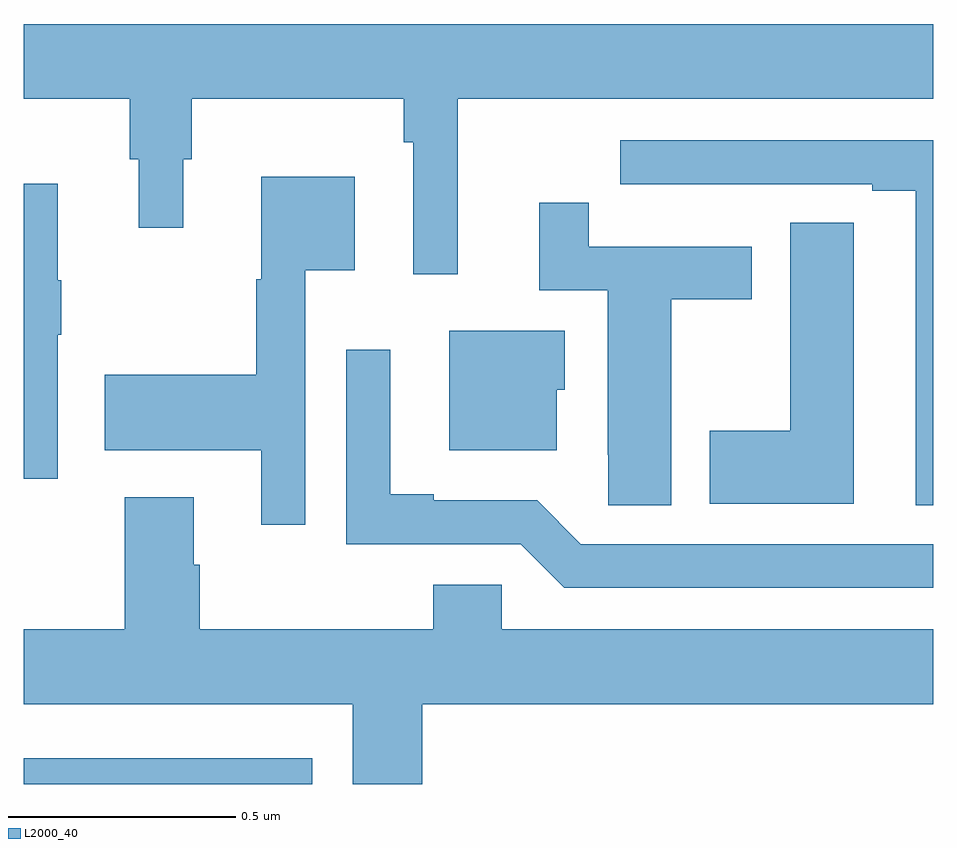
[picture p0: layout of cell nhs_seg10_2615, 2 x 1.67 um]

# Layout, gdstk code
import gdstk
lib = gdstk.Library(unit=1e-6, precision=1e-09)
def R(c, l, rs):  # rectangles x0, y0, x1, y1
    for r in rs: c.add(gdstk.rectangle(r[:2], r[2:], *l))
def P(c, l, *ps):  # polygons
    for p in ps: c.add(gdstk.Polygon(p, *l))
L2000_40 = (2000, 40)

nhs_seg10_2615 = lib.new_cell('nhs_seg10_2615')
R(nhs_seg10_2615, L2000_40, [(143,1273.5,143.634,1273.557)])
P(nhs_seg10_2615, L2000_40, [(143.954,1275.008),(145,1275.008),(145,1275.172),(143,1275.172),(143,1275.008),(143.233,1275.008),(143.233,1274.874),(143.252,1274.874),(143.252,1274.724),(143.35,1274.724),(143.35,1274.874),(143.369,1274.874),(143.369,1275.008),(143.836,1275.008),(143.836,1274.912),(143.856,1274.912),(143.856,1274.622),(143.954,1274.622)],
  [(145,1274.916),(144.312,1274.916),(144.312,1274.82),(144.424,1274.82),(144.424,1274.819),(144.59,1274.819),(144.59,1274.82),(144.866,1274.82),(144.866,1274.805),(144.962,1274.805),(144.962,1274.113),(145,1274.113)],
  [(143.619,1274.63),(143.728,1274.63),(143.728,1274.836),(143.522,1274.836),(143.522,1274.61),(143.511,1274.61),(143.511,1274.4),(143.178,1274.4),(143.178,1274.234),(143.522,1274.234),(143.522,1274.07),(143.619,1274.07)],
  [(143.074,1274.488),(143.082,1274.488),(143.082,1274.608),(143.074,1274.608),(143.074,1274.821),(143,1274.821),(143,1274.172),(143.074,1274.172)],
  [(144.424,1274.566),(144.601,1274.566),(144.601,1274.682),(144.242,1274.682),(144.242,1274.779),(144.134,1274.779),(144.134,1274.586),(144.284,1274.586),(144.284,1274.224),(144.285,1274.224),(144.285,1274.113),(144.424,1274.113)],
  [(144.826,1274.627),(144.825,1274.627),(144.825,1274.735),(144.686,1274.735),(144.686,1274.277),(144.509,1274.277),(144.509,1274.117),(144.826,1274.117)],
  [(144.172,1274.367),(144.19,1274.367),(144.19,1274.497),(143.936,1274.497),(143.936,1274.234),(144.172,1274.234)],
  [(145,1274.028),(144.225,1274.028),(144.129,1274.124),(143.902,1274.124),(143.902,1274.137),(143.806,1274.137),(143.806,1274.455),(143.709,1274.455),(143.709,1274.028),(144.093,1274.028),(144.189,1273.932),(145,1273.932)],
  [(143.876,1273.676),(145,1273.676),(145,1273.84),(144.051,1273.84),(144.051,1273.938),(143.9,1273.938),(143.9,1273.84),(143.387,1273.84),(143.387,1273.982),(143.374,1273.982),(143.374,1274.131),(143.222,1274.131),(143.222,1273.84),(143,1273.84),(143,1273.676),(143.723,1273.676),(143.723,1273.5),(143.876,1273.5)])

lib.write_gds('nhs_seg10_2615.gds')
